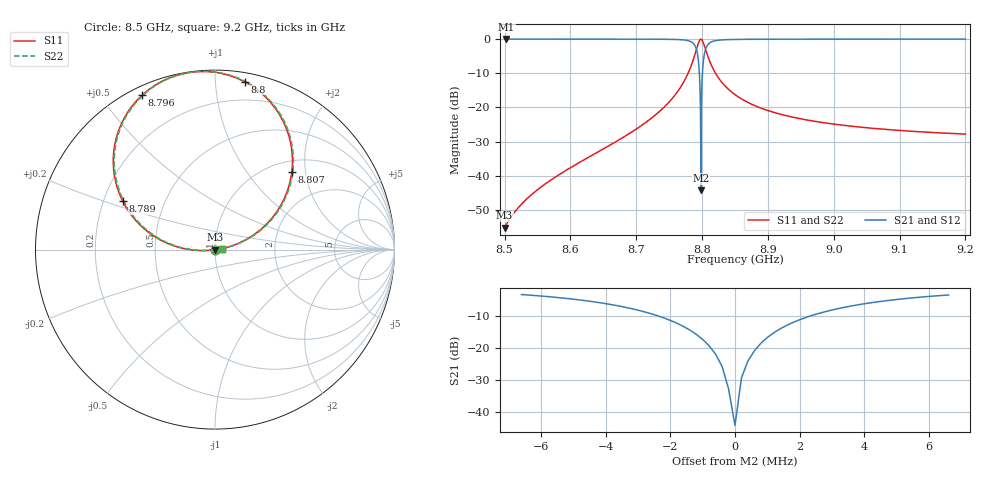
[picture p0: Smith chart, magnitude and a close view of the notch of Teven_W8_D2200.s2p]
! Sonnet Data File
! From: emgraph Version : 16.52
! From Project: transmon_brg
! Data is De-embedded
! Data File Written: 11/11/2017 22:44:26
!< HDATE 11/11/2017 16:55:33
!< MDATE 11/11/2017 17:38:18
!< PARAMS
!< Lj = 15.24
!< Gap = 6.0
!< Width = 10.0
!< Airgap = 6.0
!< Pwidth = 2000.0
!< Dist = 2200.0
!< END PARAMS
# GHZ S MA R 51.80000
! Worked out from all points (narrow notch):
!   3501 points, 8.5 GHz to 9.2 GHz, reference 51.8 ohm
!   highest |S21| = 0.00 dB at 8.502 GHz (marker M1); lowest = -44.2 dB at 8.798 GHz (marker M2)
!   notch at M2: 44.2 dB deep, 1.1 MHz wide at half that depth
!   lowest |S11| = -55.2 dB at 8.5 GHz (marker M3), VSWR 1.00, Z = 51.6 - j0.0335 ohm
!   |S11| at or under -10 dB: start of sweep to 8.779 GHz; 8.82 GHz to end of sweep
!   |S22| runs from -55.2 to 0.0 dB; largest |S21 - S12| = 0
!   S11 on the Smith chart (normalised r, x): 8.5 GHz: 1.00, -0.00; 8.789 GHz: 0.28, +0.23; 8.796 GHz: 0.03, +0.63; 8.8 GHz: 0.06, +1.19; 8.807 GHz: 1.22, +1.68; 9.2 GHz: 1.08, +0.01
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8.5  0.001746 -169.3  1 -79.8  1 -79.8  0.001746 -170.5
!< P1 F=8.5 Eeff=(6.44695349 -2.9785e-5) Z0=(51.7999087 1.19092e-4) R=0.0 C=0.0
!< P2 F=8.5 Eeff=(6.44695349 -2.9785e-5) Z0=(51.7999087 1.19092e-4) R=0.0 C=0.0
8.5024  0.001927 -169.3  1 -79.8  1 -79.8  0.001927 -170.5
8.5432  0.005545 -170.1  1 -80.4  1 -80.4  0.005545 -170.9
8.6168  0.01632 -171.4  0.9999 -81.7  0.9999 -81.7  0.01632 -172.1
8.7334  0.0843 -176.4  0.9964 -86.7  0.9964 -86.7  0.0843 -177.1
8.7578  0.1474 179.7  0.989 -90.6  0.989 -90.6  0.1474 179.1
8.7754  0.2709 172.3  0.9624 -98.0  0.9624 -98.0  0.2709 171.7
8.7834  0.4072 163.8  0.9128 -106.4  0.9128 -106.4  0.4072 163.2
8.7888  0.5817 152.2  0.8122 -118.0  0.8122 -118.0  0.5817 151.6
8.7932  0.8066 133.9  0.5882 -136.2  0.5882 -136.2  0.8066 133.3
8.796  0.9516 115.3  0.2996 -154.6  0.2996 -154.6  0.9516 114.7
8.7982  0.9974 97.5  0.006175 -17.2  0.006175 -17.2  0.9974 96.9
8.8004  0.9498 80.0  0.3054 -10.8  0.3054 -10.8  0.9498 79.4
8.8032  0.8113 62.2  0.5819 -28.3  0.5819 -28.3  0.8113 61.6
8.8074  0.6099 45.4  0.7914 -45.0  0.7914 -45.0  0.6099 44.8
8.8126  0.4478 34.3  0.8936 -56.0  0.8936 -56.0  0.4478 33.7
8.82  0.3209 26.4  0.9469 -64.0  0.9469 -64.0  0.3209 25.8
8.85  0.154 16.2  0.988 -74.1  0.988 -74.1  0.154 15.6
8.8968  0.09232 12.2  0.9957 -78.1  0.9957 -78.1  0.09232 11.6
8.9668  0.06371 9.9  0.998 -80.4  0.998 -80.4  0.06371 9.3
9.0834  0.04739 7.8  0.9989 -82.5  0.9989 -82.5  0.04739 7.2
9.2  0.04074 6.4  0.9992 -83.9  0.9992 -83.9  0.04074 5.8
